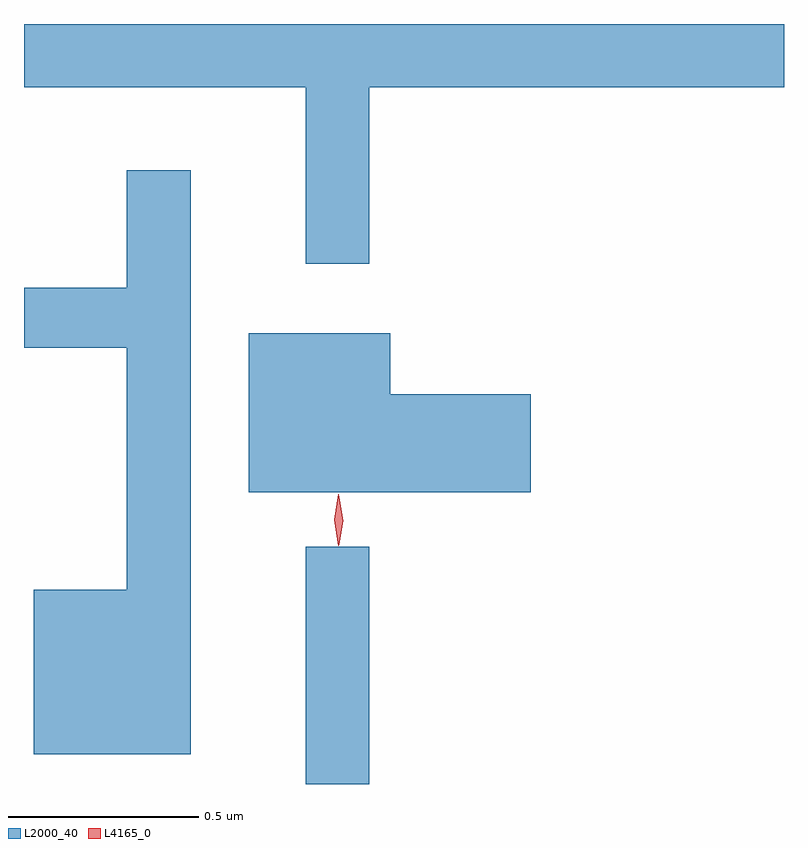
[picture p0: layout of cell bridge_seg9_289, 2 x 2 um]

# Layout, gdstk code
import gdstk
lib = gdstk.Library(unit=1e-6, precision=1e-09)
def R(c, l, rs):  # rectangles x0, y0, x1, y1
    for r in rs: c.add(gdstk.rectangle(r[:2], r[2:], *l))
def P(c, l, *ps):  # polygons
    for p in ps: c.add(gdstk.Polygon(p, *l))
L2000_40 = (2000, 40)
L4165_0 = (4165, 0)

bridge_seg9_289 = lib.new_cell('bridge_seg9_289')
R(bridge_seg9_289, L2000_40, [(1022.981,2052.143,1023.149,2052.768)])
P(bridge_seg9_289, L2000_40, [(1022.24,2053.976),(1022.981,2053.976),(1022.981,2053.512),(1023.149,2053.512),(1023.149,2053.976),(1024.24,2053.976),(1024.24,2054.143),(1022.24,2054.143)],
  [(1022.679,2053.758),(1022.511,2053.758),(1022.511,2053.449),(1022.24,2053.449),(1022.24,2053.291),(1022.511,2053.291),(1022.511,2052.654),(1022.266,2052.654),(1022.266,2052.221),(1022.679,2052.221)],
  [(1023.574,2053.169),(1023.204,2053.169),(1023.204,2053.329),(1022.831,2053.329),(1022.831,2052.911),(1023.574,2052.911)])
P(bridge_seg9_289, L4165_0, [(1023.067,2052.77),(1023.067,2052.77),(1023.057,2052.838),(1023.067,2052.906),(1023.067,2052.906),(1023.068,2052.906),(1023.077,2052.838),(1023.068,2052.77)],
  [(1023.07,2052.773),(1023.07,2052.774),(1023.06,2052.836),(1023.07,2052.899),(1023.07,2052.9),(1023.07,2052.899),(1023.08,2052.836),(1023.07,2052.774)])

lib.write_gds('bridge_seg9_289.gds')
